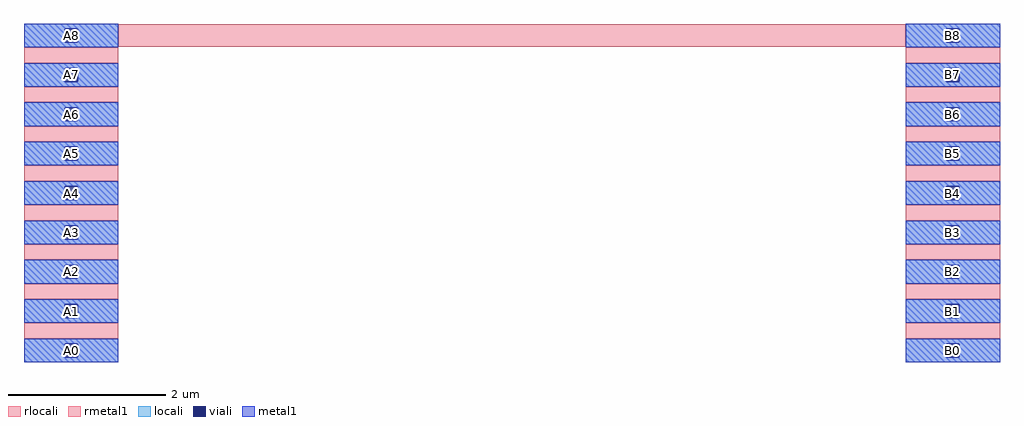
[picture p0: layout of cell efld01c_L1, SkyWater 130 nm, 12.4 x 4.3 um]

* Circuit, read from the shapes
.subckt efld01c_L1 A0 A1 A2 A3 A4 A5 A6 A7 A8 B0 B1 B2 B3 B4 B5 B6 B7 B8
R1 A1 A0 sky130_fd_pr__res_generic_m1 w=1.2 l=0.2
R2 A2 A1 sky130_fd_pr__res_generic_m1 w=1.2 l=0.2
R3 A3 A2 sky130_fd_pr__res_generic_m1 w=1.2 l=0.2
R4 A4 A3 sky130_fd_pr__res_generic_m1 w=1.2 l=0.2
R5 A5 A4 sky130_fd_pr__res_generic_m1 w=1.2 l=0.2
R6 A6 A5 sky130_fd_pr__res_generic_m1 w=1.2 l=0.2
R7 A7 A6 sky130_fd_pr__res_generic_m1 w=1.2 l=0.2
R8 A8 A7 sky130_fd_pr__res_generic_m1 w=1.2 l=0.2
R9 B8 A8 sky130_fd_pr__res_generic_l1 w=0.29 l=10
R10 B1 B0 sky130_fd_pr__res_generic_m1 w=1.2 l=0.2
R11 B2 B1 sky130_fd_pr__res_generic_m1 w=1.2 l=0.2
R12 B3 B2 sky130_fd_pr__res_generic_m1 w=1.2 l=0.2
R13 B4 B3 sky130_fd_pr__res_generic_m1 w=1.2 l=0.2
R14 B5 B4 sky130_fd_pr__res_generic_m1 w=1.2 l=0.2
R15 B6 B5 sky130_fd_pr__res_generic_m1 w=1.2 l=0.2
R16 B7 B6 sky130_fd_pr__res_generic_m1 w=1.2 l=0.2
R17 B8 B7 sky130_fd_pr__res_generic_m1 w=1.2 l=0.2
.ends

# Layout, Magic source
magic
tech sky130A
magscale 1 2
<< locali >>
rect 0 847 240 860
rect 0 813 103 847
rect 137 813 240 847
rect 0 800 240 813
rect 2240 847 2480 860
rect 2240 813 2343 847
rect 2377 813 2480 847
rect 2240 800 2480 813
rect 0 747 240 760
rect 0 713 103 747
rect 137 713 240 747
rect 0 700 240 713
rect 2240 747 2480 760
rect 2240 713 2343 747
rect 2377 713 2480 747
rect 2240 700 2480 713
rect 0 647 240 660
rect 0 613 103 647
rect 137 613 240 647
rect 0 600 240 613
rect 2240 647 2480 660
rect 2240 613 2343 647
rect 2377 613 2480 647
rect 2240 600 2480 613
rect 0 547 240 560
rect 0 513 103 547
rect 137 513 240 547
rect 0 500 240 513
rect 2240 547 2480 560
rect 2240 513 2343 547
rect 2377 513 2480 547
rect 2240 500 2480 513
rect 0 447 240 460
rect 0 413 103 447
rect 137 413 240 447
rect 0 400 240 413
rect 2240 447 2480 460
rect 2240 413 2343 447
rect 2377 413 2480 447
rect 2240 400 2480 413
rect 0 347 240 360
rect 0 313 103 347
rect 137 313 240 347
rect 0 300 240 313
rect 2240 347 2480 360
rect 2240 313 2343 347
rect 2377 313 2480 347
rect 2240 300 2480 313
rect 0 247 240 260
rect 0 213 103 247
rect 137 213 240 247
rect 0 200 240 213
rect 2240 247 2480 260
rect 2240 213 2343 247
rect 2377 213 2480 247
rect 2240 200 2480 213
rect 0 147 240 160
rect 0 113 103 147
rect 137 113 240 147
rect 0 100 240 113
rect 2240 147 2480 160
rect 2240 113 2343 147
rect 2377 113 2480 147
rect 2240 100 2480 113
rect 0 47 240 60
rect 0 13 103 47
rect 137 13 240 47
rect 0 0 240 13
rect 2240 47 2480 60
rect 2240 13 2343 47
rect 2377 13 2480 47
rect 2240 0 2480 13
<< rlocali >>
rect 240 801 2240 859
<< viali >>
rect 103 813 137 847
rect 2343 813 2377 847
rect 103 713 137 747
rect 2343 713 2377 747
rect 103 613 137 647
rect 2343 613 2377 647
rect 103 513 137 547
rect 2343 513 2377 547
rect 103 413 137 447
rect 2343 413 2377 447
rect 103 313 137 347
rect 2343 313 2377 347
rect 103 213 137 247
rect 2343 213 2377 247
rect 103 113 137 147
rect 2343 113 2377 147
rect 103 13 137 47
rect 2343 13 2377 47
<< metal1 >>
rect 0 847 240 860
rect 0 813 103 847
rect 137 813 240 847
rect 0 800 240 813
rect 0 747 240 760
rect 0 713 103 747
rect 137 713 240 747
rect 0 700 240 713
rect 0 647 240 660
rect 0 613 103 647
rect 137 613 240 647
rect 0 600 240 613
rect 0 547 240 560
rect 0 513 103 547
rect 137 513 240 547
rect 0 500 240 513
rect 0 447 240 460
rect 0 413 103 447
rect 137 413 240 447
rect 0 400 240 413
rect 0 347 240 360
rect 0 313 103 347
rect 137 313 240 347
rect 0 300 240 313
rect 0 247 240 260
rect 0 213 103 247
rect 137 213 240 247
rect 0 200 240 213
rect 0 147 240 160
rect 0 113 103 147
rect 137 113 240 147
rect 0 100 240 113
rect 0 47 240 60
rect 0 13 103 47
rect 137 13 240 47
rect 0 0 240 13
rect 2240 847 2480 860
rect 2240 813 2343 847
rect 2377 813 2480 847
rect 2240 800 2480 813
rect 2240 747 2480 760
rect 2240 713 2343 747
rect 2377 713 2480 747
rect 2240 700 2480 713
rect 2240 647 2480 660
rect 2240 613 2343 647
rect 2377 613 2480 647
rect 2240 600 2480 613
rect 2240 547 2480 560
rect 2240 513 2343 547
rect 2377 513 2480 547
rect 2240 500 2480 513
rect 2240 447 2480 460
rect 2240 413 2343 447
rect 2377 413 2480 447
rect 2240 400 2480 413
rect 2240 347 2480 360
rect 2240 313 2343 347
rect 2377 313 2480 347
rect 2240 300 2480 313
rect 2240 247 2480 260
rect 2240 213 2343 247
rect 2377 213 2480 247
rect 2240 200 2480 213
rect 2240 147 2480 160
rect 2240 113 2343 147
rect 2377 113 2480 147
rect 2240 100 2480 113
rect 2240 47 2480 60
rect 2240 13 2343 47
rect 2377 13 2480 47
rect 2240 0 2480 13
<< rmetal1 >>
rect 0 760 240 800
rect 0 660 240 700
rect 0 560 240 600
rect 0 460 240 500
rect 0 360 240 400
rect 0 260 240 300
rect 0 160 240 200
rect 0 60 240 100
rect 2240 760 2480 800
rect 2240 660 2480 700
rect 2240 560 2480 600
rect 2240 460 2480 500
rect 2240 360 2480 400
rect 2240 260 2480 300
rect 2240 160 2480 200
rect 2240 60 2480 100
<< labels >>
flabel metal1 0 0 240 60 1 FreeSans 320 0 0 0 A0
port 1 n
flabel metal1 0 100 240 160 1 FreeSans 320 0 0 0 A1
port 2 n
flabel metal1 0 200 240 260 1 FreeSans 320 0 0 0 A2
port 3 n
flabel metal1 0 300 240 360 1 FreeSans 320 0 0 0 A3
port 4 n
flabel metal1 0 400 240 460 1 FreeSans 320 0 0 0 A4
port 5 n
flabel metal1 0 500 240 560 1 FreeSans 320 0 0 0 A5
port 6 n
flabel metal1 0 600 240 660 1 FreeSans 320 0 0 0 A6
port 7 n
flabel metal1 0 700 240 760 1 FreeSans 320 0 0 0 A7
port 8 n
flabel metal1 0 800 240 860 1 FreeSans 320 0 0 0 A8
port 9 n
flabel metal1 2240 0 2480 60 1 FreeSans 320 0 0 0 B0
port 10 n
flabel metal1 2240 100 2480 160 1 FreeSans 320 0 0 0 B1
port 11 n
flabel metal1 2240 200 2480 260 1 FreeSans 320 0 0 0 B2
port 12 n
flabel metal1 2240 300 2480 360 1 FreeSans 320 0 0 0 B3
port 13 n
flabel metal1 2240 400 2480 460 1 FreeSans 320 0 0 0 B4
port 14 n
flabel metal1 2240 500 2480 560 1 FreeSans 320 0 0 0 B5
port 15 n
flabel metal1 2240 600 2480 660 1 FreeSans 320 0 0 0 B6
port 16 n
flabel metal1 2240 700 2480 760 1 FreeSans 320 0 0 0 B7
port 17 n
flabel metal1 2240 800 2480 860 1 FreeSans 320 0 0 0 B8
port 18 n
<< end >>
